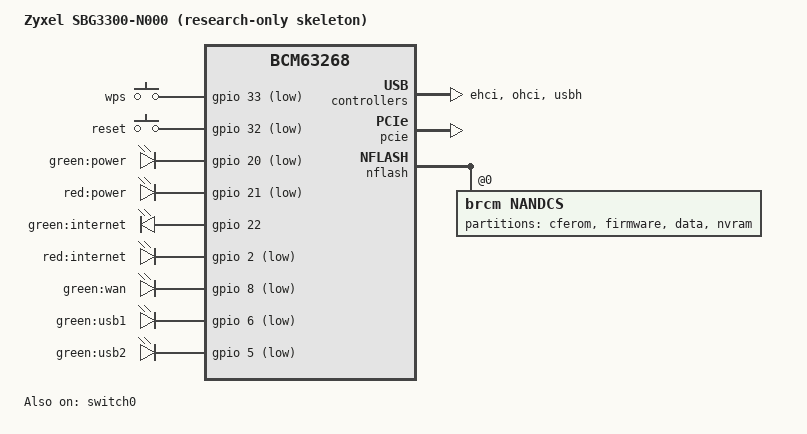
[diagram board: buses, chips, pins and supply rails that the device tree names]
// SPDX-License-Identifier: GPL-2.0-or-later

#include "bcm63268.dtsi"

/ {
	model = "Zyxel SBG3300-N000 (research-only skeleton)";
	compatible = "zyxel,sbg3300-n000", "brcm,bcm63168", "brcm,bcm63268";

	/* Do not require or select a serial console for this board. */
	chosen {
		bootargs = "";
		stdout-path = "";
	};

	keys {
		compatible = "gpio-keys-polled";
		poll-interval = <20>;

		wps {
			label = "wps";
			gpios = <&gpio 33 GPIO_ACTIVE_LOW>;
			linux,code = <KEY_WPS_BUTTON>;
			debounce-interval = <60>;
		};

		reset {
			label = "reset";
			gpios = <&gpio 32 GPIO_ACTIVE_LOW>;
			linux,code = <KEY_RESTART>;
			debounce-interval = <60>;
		};
	};
	
	leds {
		compatible = "gpio-leds";

		power_green {
			label = "green:power";
			gpios = <&gpio 20 GPIO_ACTIVE_LOW>;
			default-state = "on";
		};

		power_red {
			label = "red:power";
			gpios = <&gpio 21 GPIO_ACTIVE_LOW>;
		};

		internet_green {
			label = "green:internet";
			gpios = <&gpio 22 GPIO_ACTIVE_HIGH>;
		};

		internet_red {
			/* Serial LED */
			label = "red:internet";
			gpios = <&gpio 2 GPIO_ACTIVE_LOW>;
		};

		wan_data {
			label = "green:wan";
			gpios = <&gpio 8 GPIO_ACTIVE_LOW>;
		};

		usb1 {
			/* Serial LED */
			label = "green:usb1";
			gpios = <&gpio 6 GPIO_ACTIVE_LOW>;
		};

		usb2 {
			/* Serial LED */
			label = "green:usb2";
			gpios = <&gpio 5 GPIO_ACTIVE_LOW>;
		};
	};
};

/* These controllers are directly observed on the stock device. */
&ehci {
	status = "okay";
};

&ohci {
	status = "okay";
};

&pcie {
	status = "okay";
};

&usbh {
	status = "okay";
};

/*
 * bcm63268.dtsi uses memory@0 reg=<0 0>, allowing BMIPS RAM discovery; keep
 * that behavior instead of hard-coding a base/size from MemTotal.
 */
&nflash {
	status = "okay";

	nandcs@0 {
		compatible = "brcm,nandcs";
		reg = <0>;
		nand-ecc-step-size = <512>;
		nand-ecc-strength = <15>;
		nand-on-flash-bbt;
		brcm,nand-oob-sector-size = <64>;

		#address-cells = <1>;
		#size-cells = <1>;

		partitions {
			compatible = "fixed-partitions";
			#address-cells = <1>;
			#size-cells = <1>;

			partition@0 {
				label = "cferom";
				reg = <0x000000 0x020000>;
				read-only;
			};

			partition@20000 {
				compatible = "brcm,bcm963xx-imagetag";
				label = "firmware";
				reg = <0x020000 0x16a0000>;
			};

			partition@16c0000 {
				label = "data";
				reg = <0x16c0000 0x400000>;
			};

			partition@1ac0000 {
				label = "nvram";
				reg = <0x1ac0000 0x020000>;
			};
		};
	};
};

&switch0 {
	status = "okay";

	ports {
		port@0 {
			reg = <0>;
			label = "lan1";
		};
		port@1 {
			reg = <1>;
			label = "lan2";
		};
		port@2 {
			reg = <2>;
			label = "lan3";
		};
		port@3 {
			reg = <3>;
			label = "lan4";
		};
		port@4 {
			reg = <4>;
			label = "wan";
		};
	};
};

&mdio {
	status = "disabled";
};

/*
 * Physical partition offsets remain partially unresolved. Ethernet, DSA, LEDs
 * and buttons are omitted until exact SBG3300 mapping is recovered.
 */
